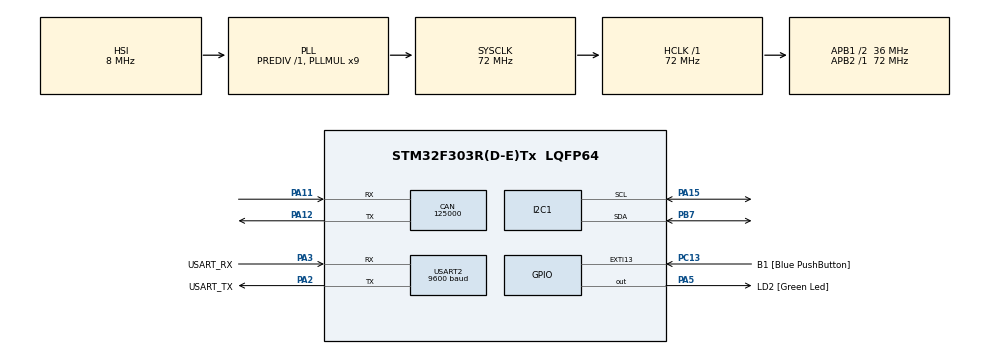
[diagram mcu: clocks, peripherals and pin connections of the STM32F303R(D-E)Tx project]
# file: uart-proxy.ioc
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CAN.BS1=CAN_BS1_9TQ
CAN.BS2=CAN_BS2_8TQ
CAN.CalculateBaudRate=125000
CAN.CalculateTimeBit=8000
CAN.CalculateTimeQuantum=444.44444444444446
I2C1.Speed=100
I2C1.Timing=0x2000090E
Mcu.Family=STM32F3
Mcu.Name=STM32F303R(D-E)Tx
Mcu.Package=LQFP64
NVIC.PriorityGroup=NVIC_PRIORITYGROUP_0
NVIC.USB_LP_CAN_RX0_IRQn=true\:0\:0\:false\:false\:true\:true\:true\:true
PA11.Mode=CAN_Activate
PA11.Signal=CAN_RX
PA12.Mode=CAN_Activate
PA12.Signal=CAN_TX
PA13.GPIO_Label=TMS
PA13.Mode=Serial_Wire
PA13.Signal=SYS_JTMS-SWDIO
PA14.GPIO_Label=TCK
PA14.Mode=Serial_Wire
PA14.Signal=SYS_JTCK-SWCLK
PA15.Mode=I2C
PA15.Signal=I2C1_SCL
PA2.GPIO_Label=USART_TX
PA2.GPIO_Mode=GPIO_MODE_AF_PP
PA2.GPIO_PuPd=GPIO_NOPULL
PA2.GPIO_Speed=GPIO_SPEED_FREQ_LOW
PA2.Mode=Asynchronous
PA2.Signal=USART2_TX
PA3.GPIO_Label=USART_RX
PA3.GPIO_Mode=GPIO_MODE_AF_PP
PA3.GPIO_PuPd=GPIO_NOPULL
PA3.GPIO_Speed=GPIO_SPEED_FREQ_LOW
PA3.Mode=Asynchronous
PA3.Signal=USART2_RX
PA5.GPIO_Label=LD2 [Green Led]
PA5.GPIO_Mode=GPIO_MODE_OUTPUT_PP
PA5.GPIO_PuPd=GPIO_NOPULL
PA5.GPIO_Speed=GPIO_SPEED_FREQ_LOW
PA5.Signal=GPIO_Output
PB3.GPIO_Label=SWO
PB3.Signal=SYS_JTDO-TRACESWO
PB7.Mode=I2C
PB7.Signal=I2C1_SDA
PC13.GPIO_Label=B1 [Blue PushButton]
PC13.GPIO_ModeDefaultEXTI=GPIO_MODE_IT_FALLING
PC13.Signal=GPXTI13
PC14-OSC32_IN.Mode=LSE-External-Oscillator
PC14-OSC32_IN.Signal=RCC_OSC32_IN
PC15-OSC32_OUT.Mode=LSE-External-Oscillator
PC15-OSC32_OUT.Signal=RCC_OSC32_OUT
PF0-OSC_IN.Mode=HSE-External-Clock-Source
PF0-OSC_IN.Signal=RCC_OSC_IN
PF1-OSC_OUT.Signal=RCC_OSC_OUT
ProjectManager.HeapSize=0x200
ProjectManager.StackSize=0x400
ProjectManager.TargetToolchain=STM32CubeIDE
RCC.AHBFreq_Value=72000000
RCC.APB1CLKDivider=RCC_HCLK_DIV2
RCC.APB1Freq_Value=36000000
RCC.APB1TimFreq_Value=72000000
RCC.APB2Freq_Value=72000000
RCC.APB2TimFreq_Value=72000000
RCC.CortexFreq_Value=72000000
RCC.HCLKFreq_Value=72000000
RCC.HSE_VALUE=8000000
RCC.HSI_VALUE=8000000
RCC.PLLM=8
RCC.PLLMUL=RCC_PLL_MUL9
RCC.PLLN=336
RCC.PLLP=RCC_PLLP_DIV4
RCC.PLLQ=7
RCC.RCC_PLLsource_Clock_Source_FROM_HSE=RCC_HSE_PREDIV_DIV2
RCC.SYSCLKFreq_VALUE=72000000
RCC.SYSCLKSourceVirtual=RCC_SYSCLKSOURCE_PLLCLK
RCC.USBFreq_Value=72000000
USART2.BaudRate=9600
USART2.VirtualMode-Asynchronous=VM_ASYNC
board=NUCLEO-F303RE

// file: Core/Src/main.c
/* USER CODE BEGIN Header */
/**
  ******************************************************************************
  * @file           : main.c
  * @brief          : Main program body
  ******************************************************************************
  * @attention
  *
  * Copyright (c) 2022 STMicroelectronics.
  * All rights reserved.
  *
  * This software is licensed under terms that can be found in the LICENSE file
  * in the root directory of this software component.
  * If no LICENSE file comes with this software, it is provided AS-IS.
  *
  ******************************************************************************
  */
/* USER CODE END Header */
#include "main.h"

/* USER CODE BEGIN Includes */
#include <string.h>
/* USER CODE END Includes */

/* USER CODE BEGIN PM */
#define LEFT_THOLD 87
#define RIGHT_THOLD 67

/* USER CODE END PM */

CAN_HandleTypeDef hcan;

I2C_HandleTypeDef hi2c1;

UART_HandleTypeDef huart2;

/* USER CODE BEGIN PV */

CAN_TxHeaderTypeDef   TxHeader;
CAN_RxHeaderTypeDef   RxHeader;
uint8_t               TxData[8];
uint8_t               RxData[8];
uint32_t              TxMailbox;

//Initial Values of
uint8_t currWheel = 75;
uint8_t currThrottle = 0;
uint8_t currBrake = 0;
uint8_t current_blink = 0;
uint8_t blinking = 0;
uint8_t currBlinkCount = 0;
uint8_t maxBlinkCount = 25;
uint8_t blinkSend = 0;
uint8_t globalFail = 0;

/* USER CODE END PV */

void SystemClock_Config(void);
static void MX_GPIO_Init(void);
static void MX_USART2_UART_Init(void);
static void MX_I2C1_Init(void);
static void MX_CAN_Init(void);

int main(void)
{

  /* MCU Configuration--------------------------------------------------------*/

  /* Reset of all peripherals, Initializes the Flash interface and the Systick. */
  HAL_Init();

  /* Configure the system clock */
  SystemClock_Config();

  /* Initialize all configured peripherals */
  MX_GPIO_Init();
  MX_USART2_UART_Init();
  MX_I2C1_Init();
  MX_CAN_Init();
  /* USER CODE BEGIN 2 */
  volatile uint8_t buf[4];
  uint8_t send_ok[] = "CAN SEND OK\r\n";
  uint8_t send_bad[] = "CAN SEND ERROR\r\n";
  /* USER CODE END 2 */

  /* Infinite loop */
  while (1)
  {

    /* USER CODE BEGIN 3 */
	//strcpy(buf, "hello world\r\n");
	//HAL_UART_Transmit(&huart2, buf, strlen(buf) + 1, 200);
	//HAL_StatusTypeDef recvnum = HAL_UART_Receive(&huart1, buf, 22, HAL_MAX_DELAY);
	//if(recvnum != HAL_OK){
		//strcpy(buf, "ERROR!");
	//}

	//HAL_StatusTypeDef rcvSt =
	HAL_I2C_Slave_Receive(&hi2c1, &buf[0], 1, HAL_MAX_DELAY);
  	//strcpy(buf, "hello\n");
  	//HAL_UART_Transmit(&huart2, buf, 4, 200);
  	//HAL_UART_Transmit(&huart2, "\r\n", 3, 200);
	//HAL_UART_Transmit(&huart2, "first: ", sizeof("first: "), 200);
  	//HAL_UART_Transmit(&huart2, &buf[0], 1, 200);
  	HAL_I2C_Slave_Receive(&hi2c1, &buf[1], 1, HAL_MAX_DELAY);
  	//HAL_UART_Transmit(&huart2, ", second: ", sizeof(", second:"), 200);
  	//HAL_UART_Transmit(&huart2, &buf[1], 1, 200);
  	HAL_I2C_Slave_Receive(&hi2c1, &buf[2], 1, HAL_MAX_DELAY);
  	//HAL_UART_Transmit(&huart2, ", thrid: ", sizeof(", thrid: "), 200);
  	//HAL_UART_Transmit(&huart2, &buf[2], 1, 200);
  	HAL_I2C_Slave_Receive(&hi2c1, &buf[3], 1, HAL_MAX_DELAY);
  	//HAL_UART_Transmit(&huart2, ", fourth:", sizeof(", fourth: "), 200);
	//HAL_UART_Transmit(&huart2, &buf[3], 1, 200);
	//HAL_UART_Transmit(&huart2, "\r\n", 3, 200);
  	/*
  	if(buf[1] > 50){
  		TxData[1] = 100;
  		HAL_UART_Transmit(&huart2, "Throttle\r\n", strlen("Throttle\r\n") + 1, 200);
  	}else{
  		TxData[1] = 0;
  		HAL_UART_Transmit(&huart2, "No Thr\r\n", strlen("No Thr\r\n") + 1, 200);
  	}
  	*/

// blinking
// 0 - no blink
// 1 - left blink
// 2 - right blink
// 3 - both blink

if (current_blink == 0 && buf[3] > 0 && (globalFail == 0)) { // blink button pressed down
    if (blinking == 1 && buf[3] == 2) {
        blinking = 2;
        blinkSend = 2;
    }
    else if (blinking == 1 && buf[3] == 1){
    	blinking = 0;
    }
    else if (blinking == 2 && buf[3] == 1){
    	blinking = 1;
    	blinkSend = 1;
    }
    else if (blinking == 2 && buf[3] == 2){
    	blinking = 0;
    }
    else {
        blinking = buf[3];
        blinkSend = buf[3];
    }
    current_blink = buf[3];
} else if (current_blink > 0 && buf[3] == 0 && (globalFail == 0)) { // blink button released
    current_blink = 0;
}

if (blinking == 1 && currWheel >= LEFT_THOLD && buf[0] < LEFT_THOLD) {
    blinking = 0;
    blinkSend = 0;
}

if (blinking == 2 && currWheel <= RIGHT_THOLD && buf[0] > RIGHT_THOLD) {
    blinking = 0;
    blinkSend = 0;
}

currWheel = buf[0];

	/*
  	//Toggle blink on for button press
  	if((currBlink == 0) && (buf[3] > 0)){
  		currBlink = buf[3];
  		if(blinkOn == 0){
  			blinkOn = buf[3];
  		}else{
  			blinkOn = 0;
  		}

  	}
  	//Toggle blink off for button release
  	else if((currBlink > 0) && (buf[3] == 0)){
  		currBlink = 0;
  	}
  	*/

	//pulses light
	if(blinking > 0 || (globalFail != 0)){
		currBlinkCount ++;
		if(currBlinkCount >= maxBlinkCount){
			currBlinkCount = 0;
			if(blinkSend == 0){
				if(globalFail == 0){
					blinkSend = blinking;
				}
				else{
					blinkSend = 3;
				}

			}
			else{
				blinkSend = 0;
			}
		}
	}
	else{
		currBlinkCount = 0;
		blinkSend = 0;
	}

	//No Failure --> Send Normal
	if(globalFail == 0){
		TxData[0] = buf[0]; //Wheel Angle (50 -100)
		TxData[1] = buf[1]; // Throttle Angle (0-100)
		TxData[2] = buf[2]; // Brake (0-100)
		TxData[3] = blinkSend; // Blinkers (0, 1, 2)
	}
	//Failure --> Send Error State
	else{
		TxData[0] = buf[0]; //Wheel Angle (50 - 100) --> still works in failure
		TxData[1] = 0; // No Throttle (0)
		TxData[2] = 100; // Locked Brakes (100)
		TxData[3] = blinkSend; // Hazard State (3))

	}

  	if (HAL_CAN_AddTxMessage(&hcan, &TxHeader, TxData, &TxMailbox) != HAL_OK)
  	{

  	  //Transmission request Error

  		HAL_StatusTypeDef status = HAL_UART_Transmit(&huart2,send_bad,sizeof(send_bad),100);// Sending in normal mode
  		if (status == HAL_OK) {
  		}
  	  Error_Handler();
  	}
  	HAL_Delay(10);
  	HAL_StatusTypeDef status = HAL_UART_Transmit(&huart2,send_ok,sizeof(send_ok),100);// Sending in normal mode
  	if (status == HAL_OK) {
  		HAL_GPIO_WritePin(GPIOA, GPIO_PIN_5, GPIO_PIN_SET);
  	}

	//strcpy(buf, "YOOOO!\r\n");
	//HAL_UART_Transmit(&huart2, buf, strlen(buf) + 1, HAL_MAX_DELAY);

//	HAL_UART_Receive(&huart1, buf, 20, HAL_MAX_DELAY);
//	HAL_UART_Transmit(&huart2, buf, 20, HAL_MAX_DELAY);

  }
  /* USER CODE END 3 */
}

void SystemClock_Config(void)
{
  RCC_OscInitTypeDef RCC_OscInitStruct = {0};
  RCC_ClkInitTypeDef RCC_ClkInitStruct = {0};
  RCC_PeriphCLKInitTypeDef PeriphClkInit = {0};

  /** Initializes the RCC Oscillators according to the specified parameters
  * in the RCC_OscInitTypeDef structure.
  */
  RCC_OscInitStruct.OscillatorType = RCC_OSCILLATORTYPE_HSI;
  RCC_OscInitStruct.HSIState = RCC_HSI_ON;
  RCC_OscInitStruct.HSICalibrationValue = RCC_HSICALIBRATION_DEFAULT;
  RCC_OscInitStruct.PLL.PLLState = RCC_PLL_ON;
  RCC_OscInitStruct.PLL.PLLSource = RCC_PLLSOURCE_HSI;
  RCC_OscInitStruct.PLL.PLLMUL = RCC_PLL_MUL9;
  RCC_OscInitStruct.PLL.PREDIV = RCC_PREDIV_DIV1;
  if (HAL_RCC_OscConfig(&RCC_OscInitStruct) != HAL_OK)
  {
    Error_Handler();
  }

  /** Initializes the CPU, AHB and APB buses clocks
  */
  RCC_ClkInitStruct.ClockType = RCC_CLOCKTYPE_HCLK|RCC_CLOCKTYPE_SYSCLK
                              |RCC_CLOCKTYPE_PCLK1|RCC_CLOCKTYPE_PCLK2;
  RCC_ClkInitStruct.SYSCLKSource = RCC_SYSCLKSOURCE_PLLCLK;
  RCC_ClkInitStruct.AHBCLKDivider = RCC_SYSCLK_DIV1;
  RCC_ClkInitStruct.APB1CLKDivider = RCC_HCLK_DIV2;
  RCC_ClkInitStruct.APB2CLKDivider = RCC_HCLK_DIV1;

  if (HAL_RCC_ClockConfig(&RCC_ClkInitStruct, FLASH_LATENCY_2) != HAL_OK)
  {
    Error_Handler();
  }
  PeriphClkInit.PeriphClockSelection = RCC_PERIPHCLK_USART2|RCC_PERIPHCLK_I2C1;
  PeriphClkInit.Usart2ClockSelection = RCC_USART2CLKSOURCE_PCLK1;
  PeriphClkInit.I2c1ClockSelection = RCC_I2C1CLKSOURCE_HSI;
  if (HAL_RCCEx_PeriphCLKConfig(&PeriphClkInit) != HAL_OK)
  {
    Error_Handler();
  }
}

static void MX_CAN_Init(void)
{

  /* USER CODE BEGIN CAN_Init 0 */
	CAN_FilterTypeDef  sFilterConfig;

  /* USER CODE END CAN_Init 0 */

  hcan.Instance = CAN;
  hcan.Init.Prescaler = 16;
  hcan.Init.Mode = CAN_MODE_NORMAL;
  hcan.Init.SyncJumpWidth = CAN_SJW_1TQ;
  hcan.Init.TimeSeg1 = CAN_BS1_9TQ;
  hcan.Init.TimeSeg2 = CAN_BS2_8TQ;
  hcan.Init.TimeTriggeredMode = DISABLE;
  hcan.Init.AutoBusOff = DISABLE;
  hcan.Init.AutoWakeUp = DISABLE;
  hcan.Init.AutoRetransmission = DISABLE;
  hcan.Init.ReceiveFifoLocked = DISABLE;
  hcan.Init.TransmitFifoPriority = DISABLE;
  if (HAL_CAN_Init(&hcan) != HAL_OK)
  {
    Error_Handler();
  }
  /* USER CODE BEGIN CAN_Init 2 */

	sFilterConfig.FilterIdHigh = 0x0000;
	sFilterConfig.FilterIdLow = 0x0000;
	sFilterConfig.FilterMaskIdHigh = 0x0000;
	sFilterConfig.FilterMaskIdLow = 0x0000;
	sFilterConfig.FilterFIFOAssignment = 0;
	sFilterConfig.FilterBank = 0;
	sFilterConfig.FilterMode = CAN_FILTERMODE_IDMASK;
	sFilterConfig.FilterScale = CAN_FILTERSCALE_32BIT;
	sFilterConfig.FilterActivation = ENABLE;
	sFilterConfig.SlaveStartFilterBank = 14;

	if (HAL_CAN_ConfigFilter(&hcan, &sFilterConfig) != HAL_OK)
	  {
		/* Filter configuration Error */
		Error_Handler();
	  }

  /*##-3- Start the CAN peripheral ###########################################*/
  if (HAL_CAN_Start(&hcan) != HAL_OK)
  {
	/* Start Error */
	Error_Handler();
  }

  /*##-4- Activate CAN RX notification #######################################*/
  if (HAL_CAN_ActivateNotification(&hcan, CAN_IT_RX_FIFO0_MSG_PENDING) != HAL_OK)
  {
	/* Notification Error */
	Error_Handler();
  }

  /*##-5- Configure Transmission process #####################################*/
  TxHeader.StdId = 0x320;
  TxHeader.ExtId = 0x01;
  TxHeader.RTR = CAN_RTR_DATA;
  TxHeader.IDE = CAN_ID_STD;
  TxHeader.DLC = 8;
  TxHeader.TransmitGlobalTime = DISABLE;

  /* USER CODE END CAN_Init 2 */

}

static void MX_I2C1_Init(void)
{

  hi2c1.Instance = I2C1;
  hi2c1.Init.Timing = 0x2000090E;
  hi2c1.Init.OwnAddress1 = 0;
  hi2c1.Init.AddressingMode = I2C_ADDRESSINGMODE_7BIT;
  hi2c1.Init.DualAddressMode = I2C_DUALADDRESS_DISABLE;
  hi2c1.Init.OwnAddress2 = 0;
  hi2c1.Init.OwnAddress2Masks = I2C_OA2_NOMASK;
  hi2c1.Init.GeneralCallMode = I2C_GENERALCALL_DISABLE;
  hi2c1.Init.NoStretchMode = I2C_NOSTRETCH_DISABLE;
  if (HAL_I2C_Init(&hi2c1) != HAL_OK)
  {
    Error_Handler();
  }

  /** Configure Analogue filter
  */
  if (HAL_I2CEx_ConfigAnalogFilter(&hi2c1, I2C_ANALOGFILTER_ENABLE) != HAL_OK)
  {
    Error_Handler();
  }

  /** Configure Digital filter
  */
  if (HAL_I2CEx_ConfigDigitalFilter(&hi2c1, 0) != HAL_OK)
  {
    Error_Handler();
  }

}

static void MX_USART2_UART_Init(void)
{

  huart2.Instance = USART2;
  huart2.Init.BaudRate = 9600;
  huart2.Init.WordLength = UART_WORDLENGTH_8B;
  huart2.Init.StopBits = UART_STOPBITS_1;
  huart2.Init.Parity = UART_PARITY_NONE;
  huart2.Init.Mode = UART_MODE_TX_RX;
  huart2.Init.HwFlowCtl = UART_HWCONTROL_NONE;
  huart2.Init.OverSampling = UART_OVERSAMPLING_16;
  huart2.Init.OneBitSampling = UART_ONE_BIT_SAMPLE_DISABLE;
  huart2.AdvancedInit.AdvFeatureInit = UART_ADVFEATURE_NO_INIT;
  if (HAL_UART_Init(&huart2) != HAL_OK)
  {
    Error_Handler();
  }

}

static void MX_GPIO_Init(void)
{
  GPIO_InitTypeDef GPIO_InitStruct = {0};

  /* GPIO Ports Clock Enable */
  __HAL_RCC_GPIOC_CLK_ENABLE();
  __HAL_RCC_GPIOF_CLK_ENABLE();
  __HAL_RCC_GPIOA_CLK_ENABLE();
  __HAL_RCC_GPIOB_CLK_ENABLE();

  /*Configure GPIO pin Output Level */
  HAL_GPIO_WritePin(LD2_GPIO_Port, LD2_Pin, GPIO_PIN_RESET);

  /*Configure GPIO pin : B1_Pin */
  GPIO_InitStruct.Pin = B1_Pin;
  GPIO_InitStruct.Mode = GPIO_MODE_IT_FALLING;
  GPIO_InitStruct.Pull = GPIO_NOPULL;
  HAL_GPIO_Init(B1_GPIO_Port, &GPIO_InitStruct);

  /*Configure GPIO pin : LD2_Pin */
  GPIO_InitStruct.Pin = LD2_Pin;
  GPIO_InitStruct.Mode = GPIO_MODE_OUTPUT_PP;
  GPIO_InitStruct.Pull = GPIO_NOPULL;
  GPIO_InitStruct.Speed = GPIO_SPEED_FREQ_LOW;
  HAL_GPIO_Init(LD2_GPIO_Port, &GPIO_InitStruct);

}

/* USER CODE BEGIN 4 */
/**
  * @brief  Rx Fifo 0 message pending callback
  * @param  hcan: pointer to a CAN_HandleTypeDef structure that contains
  *         the configuration information for the specified CAN.
  * @retval None
  */
void HAL_CAN_RxFifo0MsgPendingCallback(CAN_HandleTypeDef *hcan)
{
  /* Get RX message */
  if (HAL_CAN_GetRxMessage(hcan, CAN_RX_FIFO0, &RxHeader, RxData) != HAL_OK)
  {
    /* Reception Error */
    Error_Handler();
  }

  /* Display LEDx */
  if ((RxHeader.StdId == 0x321))
  {
    HAL_GPIO_WritePin(GPIOA, GPIO_PIN_5,RxData[0]);
    if(RxData[4] == 1){
    	globalFail += 1;
    }
    else if(RxData[4] == 0){
    	if(globalFail > 0){
    		globalFail -= 1;
    	}
    }
  }
  uint8_t can_rcv[] = "CAN RCV OK\r\n";
  HAL_StatusTypeDef status1 = HAL_UART_Transmit(&huart2,can_rcv,sizeof(can_rcv),100);// Sending in normal mode
  if (status1 == HAL_OK) {

  }

  if (RxHeader.StdId == 0x322) {
	  if(RxData[4] == 1){
		  globalFail += 1;
	  }
	  else if(RxData[4] == 0){
		  if(globalFail > 0){
			  globalFail -= 1;
	      }
	  }
  }
}

/* USER CODE END 4 */

void Error_Handler(void)
{
  __disable_irq();
  while (1)
  {
  }
}
